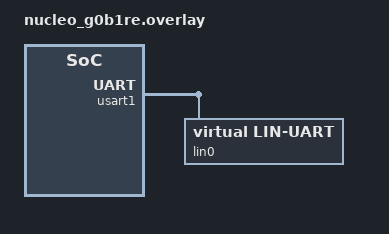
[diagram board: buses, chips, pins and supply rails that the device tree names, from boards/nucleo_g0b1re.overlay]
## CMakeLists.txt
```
cmake_minimum_required(VERSION 3.20.0)

find_package(Zephyr REQUIRED HINTS $ENV{ZEPHYR_BASE})
project(lin_test)

target_sources(app PRIVATE src/main.c)
```

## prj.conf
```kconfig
CONFIG_LIN=y

CONFIG_LOG=y
CONFIG_LOG_DEFAULT_LEVEL=3
CONFIG_LIN_LOG_LEVEL_DBG=y
CONFIG_LOG_MODE_IMMEDIATE=n
CONFIG_LOG_PROCESS_TRIGGER_THRESHOLD=0
CONFIG_LOG_PROCESS_THREAD_SLEEP_MS=100
```

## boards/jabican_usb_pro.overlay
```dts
/ {
    chosen {
        zephyr,console = &cdc_acm_uart0;
    };
};

&zephyr_udc0 {
    cdc_acm_uart0: cdc_acm_uart0 {
        compatible = "zephyr,cdc-acm-uart";
        label = "CDC_ACM_0";
    };
};
```

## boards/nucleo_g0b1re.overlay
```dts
&usart1 {
    lin0: lin0 {
        compatible = "virtual,lin-uart";
        status = "okay";
        bitrate = <19200>;
        max-wait-percent = <150>;
    };
};
```

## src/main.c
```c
#include <zephyr/kernel.h>
#include <zephyr/logging/log.h>
#include <zephyrboards/drivers/lin.h>
LOG_MODULE_REGISTER(main, CONFIG_LOG_DEFAULT_LEVEL);

const struct device *dev = DEVICE_DT_GET_ANY(zephyrboards_lin_uart);

void print_msg(struct zlin_frame *msg) {
    LOG_INF("id=0x%x, checksum=%d, len=%d", msg->id, msg->type, msg->len);
    LOG_HEXDUMP_INF(msg->data, msg->data_len, "data=");
}

int main() {
    LOG_INF("TODO stuff in commander and responder mode");
}
```
